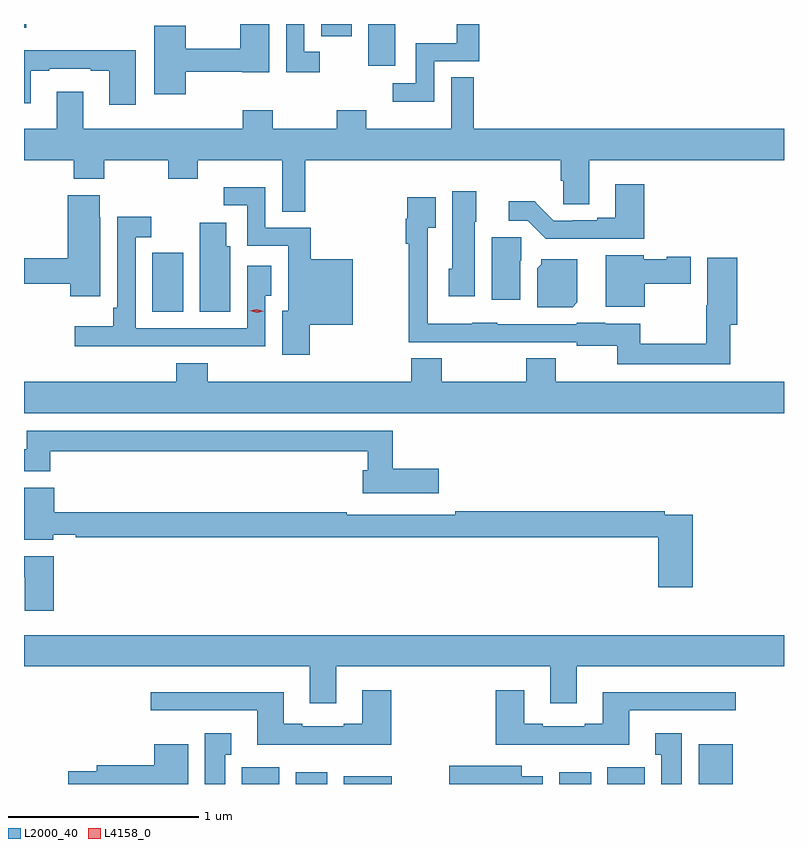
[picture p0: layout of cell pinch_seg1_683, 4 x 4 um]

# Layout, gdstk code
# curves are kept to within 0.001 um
import gdstk
lib = gdstk.Library(unit=1e-6, precision=1e-09)
def R(c, l, rs):  # rectangles x0, y0, x1, y1
    for r in rs: c.add(gdstk.rectangle(r[:2], r[2:], *l))
def P(c, l, *ps):  # polygons
    for p in ps: c.add(gdstk.Polygon(p, *l))
L2000_40 = (2000, 40)
L4158_0 = (4158, 0)

pinch_seg1_683 = lib.new_cell('pinch_seg1_683')
R(pinch_seg1_683, L2000_40, [(636.446,564.432,636.643,564.52), (636.728,564.432,636.895,564.493), (636.983,564.432,637.234,564.472), (638.117,564.432,638.284,564.493), (638.369,564.432,638.566,564.52), (638.849,564.432,639.028,564.64), (635.975,566.917,636.136,567.228), (637.112,568.212,637.252,568.432), (636.863,568.368,637.024,568.432), (635.299,568.412,635.311,568.432)])
P(pinch_seg1_683, L2000_40, [(636.856,568.287),(636.774,568.287),(636.774,568.432),(636.678,568.432),(636.678,568.179),(636.856,568.179)],
  [(637.458,568.236),(637.696,568.236),(637.696,568.432),(637.577,568.432),(637.577,568.332),(637.362,568.332),(637.362,568.119),(637.239,568.119),(637.239,568.022),(637.458,568.022)],
  [(636.15,568.182),(636.447,568.182),(636.447,568.178),(636.589,568.178),(636.589,568.432),(636.436,568.432),(636.436,568.303),(636.15,568.303),(636.15,568.423),(635.984,568.423),(635.984,568.062),(636.15,568.062)],
  [(635.887,568.294),(635.299,568.294),(635.299,568.016),(635.335,568.016),(635.335,568.185),(635.431,568.185),(635.431,568.197),(635.651,568.197),(635.651,568.185),(635.747,568.185),(635.747,568.008),(635.887,568.008)],
  [(636.778,567.716),(638.123,567.716),(638.123,567.606),(638.136,567.606),(638.136,567.484),(638.275,567.484),(638.275,567.716),(639.299,567.716),(639.299,567.88),(637.666,567.88),(637.666,568.151),(637.547,568.151),(637.547,567.88),(637.101,567.88),(637.101,567.979),(636.946,567.979),(636.946,567.88),(636.609,567.88),(636.609,567.979),(636.449,567.979),(636.449,567.88),(635.611,567.88),(635.611,568.075),(635.471,568.075),(635.471,567.88),(635.299,567.88),(635.299,567.716),(635.561,567.716),(635.561,567.617),(635.721,567.617),(635.721,567.716),(636.058,567.716),(636.058,567.617),(636.213,567.617),(636.213,567.716),(636.659,567.716),(636.659,567.445),(636.778,567.445)],
  [(638.564,567.589),(638.411,567.589),(638.411,567.412),(638.315,567.412),(638.315,567.399),(638.188,567.399),(638.188,567.396),(638.088,567.396),(637.986,567.499),(637.851,567.499),(637.851,567.396),(637.95,567.396),(638.044,567.302),(638.564,567.302)],
  [(636.803,566.849),(637.03,566.849),(637.03,567.193),(636.808,567.193),(636.808,567.36),(636.57,567.36),(636.57,567.574),(636.351,567.574),(636.351,567.477),(636.474,567.477),(636.474,567.264),(636.689,567.264),(636.689,566.923),(636.659,566.923),(636.659,566.691),(636.803,566.691)],
  [(637.672,567.39),(637.678,567.39),(637.678,567.553),(637.553,567.553),(637.553,567.144),(637.535,567.144),(637.535,567),(637.672,567)],
  [(635.701,567.414),(635.698,567.414),(635.698,567.532),(635.528,567.532),(635.528,567.2),(635.299,567.2),(635.299,567.064),(635.543,567.064),(635.543,567),(635.701,567)],
  [(639.017,566.849),(639.052,566.849),(639.052,567.202),(638.894,567.202),(638.894,566.953),(638.889,566.953),(638.889,566.749),(638.542,566.749),(638.542,566.854),(638.358,566.854),(638.358,566.86),(638.208,566.86),(638.208,566.853),(637.791,566.853),(637.791,566.86),(637.659,566.86),(637.659,566.854),(637.425,566.854),(637.425,567.359),(637.465,567.359),(637.465,567.52),(637.317,567.52),(637.317,567.407),(637.309,567.407),(637.309,567.275),(637.324,567.275),(637.324,566.757),(637.559,566.757),(637.559,566.756),(637.791,566.756),(637.791,566.757),(638.208,566.757),(638.208,566.738),(638.421,566.738),(638.421,566.64),(639.017,566.64)],
  [(635.983,566.736),(636.349,566.736),(636.349,566.735),(636.57,566.735),(636.57,567.001),(636.601,567.001),(636.601,567.16),(636.474,567.16),(636.474,566.832),(635.886,566.832),(635.886,567.309),(635.968,567.309),(635.968,567.418),(635.79,567.418),(635.79,566.938),(635.77,566.938),(635.77,566.842),(635.565,566.842),(635.565,566.735),(635.983,566.735)],
  [(636.385,567.261),(636.364,567.261),(636.364,567.385),(636.224,567.385),(636.224,566.917),(636.385,566.917)],
  [(637.912,567.186),(637.916,567.186),(637.916,567.309),(637.76,567.309),(637.76,566.982),(637.912,566.982)],
  [(638.566,567.064),(638.809,567.064),(638.809,567.206),(638.682,567.206),(638.682,567.193),(638.562,567.193),(638.562,567.214),(638.36,567.214),(638.36,566.945),(638.566,566.945)],
  [(638.212,566.968),(638.212,567.193),(638.022,567.193),(638.022,567.168),(638,567.146),(638,566.942),(638.186,566.942)],
  [(639.299,566.548),(638.097,566.548),(638.097,566.672),(637.942,566.672),(637.942,566.548),(637.497,566.548),(637.497,566.672),(637.337,566.672),(637.337,566.548),(636.266,566.548),(636.266,566.647),(636.101,566.647),(636.101,566.548),(635.299,566.548),(635.299,566.384),(639.299,566.384)],
  [(637.483,566.091),(637.241,566.091),(637.241,566.292),(635.313,566.292),(635.313,566.194),(635.299,566.194),(635.299,566.078),(635.437,566.078),(635.437,566.184),(637.109,566.184),(637.109,566.083),(637.082,566.083),(637.082,565.961),(637.483,565.961)],
  [(638.819,565.848),(638.672,565.848),(638.672,565.868),(637.57,565.868),(637.57,565.848),(636.998,565.848),(636.998,565.861),(635.458,565.861),(635.458,565.99),(635.299,565.99),(635.299,565.718),(635.454,565.718),(635.454,565.743),(635.572,565.743),(635.572,565.732),(638.636,565.732),(638.636,565.467),(638.819,565.467)],
  [(635.456,565.631),(635.299,565.631),(635.299,565.521),(635.303,565.521),(635.303,565.344),(635.456,565.344)],
  [(636.943,565.052),(638.069,565.052),(638.069,564.858),(638.209,564.858),(638.209,565.052),(639.299,565.052),(639.299,565.216),(635.299,565.216),(635.299,565.052),(636.803,565.052),(636.803,564.858),(636.943,564.858)],
  [(637.232,564.925),(637.079,564.925),(637.079,564.748),(636.983,564.748),(636.983,564.735),(636.763,564.735),(636.763,564.748),(636.667,564.748),(636.667,564.916),(635.967,564.916),(635.967,564.819),(636.527,564.819),(636.527,564.638),(637.232,564.638)],
  [(638.485,564.819),(639.046,564.819),(639.046,564.916),(638.345,564.916),(638.345,564.748),(638.249,564.748),(638.249,564.735),(638.029,564.735),(638.029,564.748),(637.933,564.748),(637.933,564.925),(637.781,564.925),(637.781,564.638),(638.485,564.638)],
  [(636.358,564.587),(636.391,564.587),(636.391,564.7),(636.251,564.7),(636.251,564.432),(636.358,564.432)],
  [(638.761,564.7),(638.621,564.7),(638.621,564.587),(638.654,564.587),(638.654,564.432),(638.761,564.432)],
  [(636.163,564.64),(635.984,564.64),(635.984,564.53),(635.681,564.53),(635.681,564.5),(635.532,564.5),(635.532,564.432),(636.163,564.432)],
  [(638.029,564.472),(637.918,564.472),(637.918,564.529),(637.538,564.529),(637.538,564.432),(638.029,564.432)])
P(pinch_seg1_683, L4158_0, [(636.524,566.912),(636.488,566.922),(636.488,566.922),(636.488,566.922),(636.524,566.932),(636.56,566.921),(636.56,566.921),(636.56,566.92)])

lib.write_gds('pinch_seg1_683.gds')
